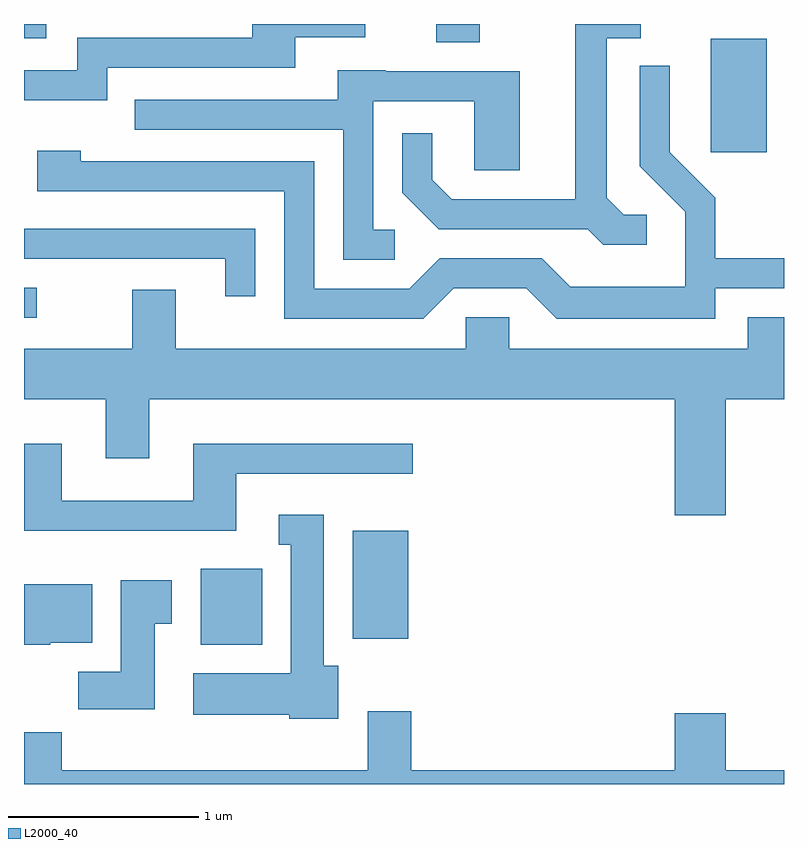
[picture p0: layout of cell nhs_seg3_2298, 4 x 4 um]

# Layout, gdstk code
import gdstk
lib = gdstk.Library(unit=1e-6, precision=1e-09)
def R(c, l, rs):  # rectangles x0, y0, x1, y1
    for r in rs: c.add(gdstk.rectangle(r[:2], r[2:], *l))
def P(c, l, *ps):  # polygons
    for p in ps: c.add(gdstk.Polygon(p, *l))
L2000_40 = (2000, 40)

nhs_seg3_2298 = lib.new_cell('nhs_seg3_2298')
R(nhs_seg3_2298, L2000_40, [(252.541,1224.626,252.864,1225.024), (253.341,1224.656,253.634,1225.224), (251.611,1226.346,251.678,1226.504), (255.226,1227.216,255.519,1227.814), (253.781,1227.796,254.009,1227.892), (251.611,1227.816,251.728,1227.892)])
P(nhs_seg3_2298, L2000_40, [(252.049,1227.661),(253.039,1227.661),(253.039,1227.821),(253.408,1227.821),(253.408,1227.892),(252.811,1227.892),(252.811,1227.819),(251.891,1227.819),(251.891,1227.649),(251.611,1227.649),(251.611,1227.491),(252.049,1227.491)],
  [(254.888,1226.889),(254.767,1226.889),(254.679,1226.977),(254.679,1227.816),(254.858,1227.816),(254.858,1227.892),(254.511,1227.892),(254.511,1226.969),(253.862,1226.969),(253.759,1227.072),(253.759,1227.318),(253.601,1227.318),(253.601,1227.004),(253.794,1226.811),(254.579,1226.811),(254.659,1226.731),(254.888,1226.731)],
  [(253.872,1226.501),(254.254,1226.501),(254.414,1226.341),(255.249,1226.341),(255.249,1226.501),(255.611,1226.501),(255.611,1226.659),(255.249,1226.659),(255.249,1226.977),(255.009,1227.217),(255.009,1227.673),(254.851,1227.673),(254.851,1227.144),(255.091,1226.904),(255.091,1226.509),(254.487,1226.509),(254.337,1226.659),(253.799,1226.659),(253.639,1226.499),(253.139,1226.499),(253.139,1227.169),(251.909,1227.169),(251.909,1227.224),(251.681,1227.224),(251.681,1227.011),(252.981,1227.011),(252.981,1226.341),(253.712,1226.341)],
  [(253.563,1226.809),(253.449,1226.809),(253.449,1227.486),(253.981,1227.486),(253.981,1227.121),(254.219,1227.121),(254.219,1227.644),(253.515,1227.644),(253.515,1227.649),(253.261,1227.649),(253.261,1227.494),(252.193,1227.494),(252.193,1227.336),(253.291,1227.336),(253.291,1226.651),(253.563,1226.651)],
  [(252.829,1226.814),(251.611,1226.814),(251.611,1226.656),(252.671,1226.656),(252.671,1226.458),(252.829,1226.458)],
  [(252.181,1226.494),(252.181,1226.184),(251.611,1226.184),(251.611,1225.916),(252.041,1225.916),(252.041,1225.606),(252.269,1225.606),(252.269,1225.916),(255.036,1225.916),(255.036,1225.306),(255.304,1225.306),(255.304,1225.916),(255.611,1225.916),(255.611,1226.349),(255.421,1226.349),(255.421,1226.184),(254.164,1226.184),(254.164,1226.349),(253.936,1226.349),(253.936,1226.184),(252.409,1226.184),(252.409,1226.494)],
  [(252.729,1225.526),(253.658,1225.526),(253.658,1225.684),(252.501,1225.684),(252.501,1225.384),(251.809,1225.384),(251.809,1225.684),(251.611,1225.684),(251.611,1225.226),(252.729,1225.226)],
  [(253.264,1224.514),(253.189,1224.514),(253.189,1225.309),(252.953,1225.309),(252.953,1225.151),(253.016,1225.151),(253.016,1224.474),(252.501,1224.474),(252.501,1224.256),(253.006,1224.256),(253.006,1224.236),(253.264,1224.236)],
  [(252.299,1224.736),(252.389,1224.736),(252.389,1224.964),(252.121,1224.964),(252.121,1224.484),(251.896,1224.484),(251.896,1224.286),(252.299,1224.286)],
  [(251.75,1224.636),(251.969,1224.636),(251.969,1224.944),(251.611,1224.944),(251.611,1224.626),(251.75,1224.626)],
  [(251.611,1224.164),(251.611,1223.892),(255.611,1223.892),(255.611,1223.964),(255.304,1223.964),(255.304,1224.264),(255.036,1224.264),(255.036,1223.964),(253.649,1223.964),(253.649,1224.274),(253.421,1224.274),(253.421,1223.964),(251.809,1223.964),(251.809,1224.164)])

lib.write_gds('nhs_seg3_2298.gds')
